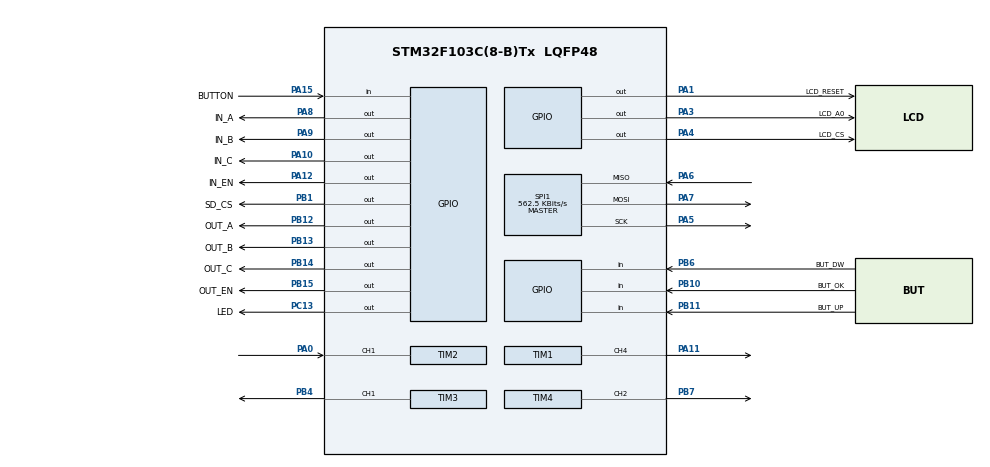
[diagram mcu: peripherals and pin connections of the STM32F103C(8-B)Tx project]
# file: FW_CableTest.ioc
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Mcu.Family=STM32F1
Mcu.Name=STM32F103C(8-B)Tx
Mcu.Package=LQFP48
NVIC.PriorityGroup=NVIC_PRIORITYGROUP_4
NVIC.TIM1_TRG_COM_IRQn=true\:0\:0\:false\:false\:true\:true\:true
NVIC.TIM2_IRQn=true\:0\:0\:false\:false\:true\:true\:true
NVIC.TIM4_IRQn=true\:0\:0\:false\:false\:true\:true\:true
PA0-WKUP.Signal=S_TIM2_CH1_ETR
PA1.GPIO_Label=LCD_RESET
PA1.GPIO_PuPd=GPIO_PULLUP
PA1.Signal=GPIO_Output
PA10.GPIO_Label=IN_C
PA10.Signal=GPIO_Output
PA11.Signal=S_TIM1_CH4
PA12.GPIO_Label=IN_EN
PA12.Signal=GPIO_Output
PA13.Mode=Serial_Wire
PA13.Signal=SYS_JTMS-SWDIO
PA14.Mode=Serial_Wire
PA14.Signal=SYS_JTCK-SWCLK
PA15.GPIO_Label=BUTTON
PA15.GPIO_PuPd=GPIO_PULLUP
PA15.Signal=GPIO_Input
PA3.GPIO_Label=LCD_A0
PA3.Signal=GPIO_Output
PA4.GPIO_Label=LCD_CS
PA4.GPIO_PuPd=GPIO_PULLUP
PA4.Signal=GPIO_Output
PA5.Mode=Full_Duplex_Master
PA5.Signal=SPI1_SCK
PA6.Mode=Full_Duplex_Master
PA6.Signal=SPI1_MISO
PA7.Mode=Full_Duplex_Master
PA7.Signal=SPI1_MOSI
PA8.GPIO_Label=IN_A
PA8.Signal=GPIO_Output
PA9.GPIO_Label=IN_B
PA9.Signal=GPIO_Output
PB1.GPIO_Label=SD_CS
PB1.GPIO_PuPd=GPIO_PULLUP
PB1.Signal=GPIO_Output
PB10.GPIO_Label=BUT_OK
PB10.GPIO_PuPd=GPIO_PULLUP
PB10.Signal=GPIO_Input
PB11.GPIO_Label=BUT_UP
PB11.GPIO_PuPd=GPIO_PULLUP
PB11.Signal=GPIO_Input
PB12.GPIO_Label=OUT_A
PB12.Signal=GPIO_Output
PB13.GPIO_Label=OUT_B
PB13.Signal=GPIO_Output
PB14.GPIO_Label=OUT_C
PB14.Signal=GPIO_Output
PB15.GPIO_Label=OUT_EN
PB15.Signal=GPIO_Output
PB3.Signal=SYS_JTDO-TRACESWO
PB4.Signal=S_TIM3_CH1
PB6.GPIO_Label=BUT_DW
PB6.GPIO_PuPd=GPIO_PULLUP
PB6.Signal=GPIO_Input
PB7.Signal=S_TIM4_CH2
PC13-TAMPER-RTC.GPIO_Label=LED
PC13-TAMPER-RTC.Signal=GPIO_Output
PD0-OSC_IN.Mode=HSE-External-Oscillator
PD0-OSC_IN.Signal=RCC_OSC_IN
PD1-OSC_OUT.Mode=HSE-External-Oscillator
PD1-OSC_OUT.Signal=RCC_OSC_OUT
ProjectManager.HeapSize=0x1000
ProjectManager.StackSize=0x400
ProjectManager.TargetToolchain=STM32CubeIDE
RCC.AHBFreq_Value=72000000
RCC.APB1CLKDivider=RCC_HCLK_DIV2
RCC.APB1Freq_Value=36000000
RCC.APB1TimFreq_Value=72000000
RCC.APB2Freq_Value=72000000
RCC.APB2TimFreq_Value=72000000
RCC.HCLKFreq_Value=72000000
RCC.PLLMUL=RCC_PLL_MUL9
RCC.PLLSourceVirtual=RCC_PLLSOURCE_HSE
RCC.SYSCLKFreq_VALUE=72000000
RCC.SYSCLKSource=RCC_SYSCLKSOURCE_PLLCLK
RCC.USBFreq_Value=72000000
SH.S_TIM1_CH4.0=TIM1_CH4,Output Compare4 CH4
SH.S_TIM2_CH1_ETR.0=TIM2_CH1,Input_Capture1_from_TI1
SH.S_TIM3_CH1.0=TIM3_CH1,Output Compare1 CH1
SH.S_TIM4_CH2.0=TIM4_CH2,PWM Generation2 CH2
SPI1.BaudRatePrescaler=SPI_BAUDRATEPRESCALER_128
SPI1.CalculateBaudRate=562.5 KBits/s
SPI1.Direction=SPI_DIRECTION_2LINES
SPI1.Mode=SPI_MODE_MASTER
SPI1.VirtualType=VM_MASTER
TIM1.AutoReloadPreload=TIM_AUTORELOAD_PRELOAD_DISABLE
TIM1.AutomaticOutput=TIM_AUTOMATICOUTPUT_ENABLE
TIM1.Channel-Output\ Compare4\ CH4=TIM_CHANNEL_4
TIM1.OCMode_4=TIM_OCMODE_TOGGLE
TIM1.Period=4
TIM1.Prescaler=71
TIM1.RepetitionCounter=19
TIM1.TIM_MasterSlaveMode=TIM_MASTERSLAVEMODE_DISABLE
TIM2.Channel-Input_Capture1_from_TI1=TIM_CHANNEL_1
TIM2.ICFilter_CH1=0
TIM2.ICPolarity_CH1=TIM_INPUTCHANNELPOLARITY_FALLING
TIM2.Period=60000
TIM2.Prescaler=71
TIM3.AutoReloadPreload=TIM_AUTORELOAD_PRELOAD_ENABLE
TIM3.Channel-Output\ Compare1\ CH1=TIM_CHANNEL_1
TIM3.OCMode_1=TIM_OCMODE_TOGGLE
TIM3.Period=499
TIM3.Prescaler=71
TIM4.AutoReloadPreload=TIM_AUTORELOAD_PRELOAD_ENABLE
TIM4.Channel-PWM\ Generation2\ CH2=TIM_CHANNEL_2
TIM4.OC2Preload_PWM=DISABLE
TIM4.OCPolarity_2=TIM_OCPOLARITY_HIGH
TIM4.Period=199
TIM4.Prescaler=71
TIM4.Pulse-PWM\ Generation2\ CH2=1
TIM4.TIM_MasterOutputTrigger=TIM_TRGO_ENABLE
TIM4.TIM_MasterSlaveMode=TIM_MASTERSLAVEMODE_ENABLE
VP_CRC_VS_CRC.Mode=CRC_Activate
VP_FATFS_VS_Generic.Mode=User_defined
VP_TIM1_VS_ClockSourceITR.Mode=TriggerSource_ITR3
VP_TIM1_VS_ControllerModeTrigger.Mode=Trigger Mode
VP_TIM1_VS_OPM.Mode=OPM_bit
VP_TIM4_VS_OPM.Mode=OPM_bit
board=custom

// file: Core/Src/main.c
/* USER CODE BEGIN Header */
/**
  ******************************************************************************
  * @file           : main.c
  * @brief          : Main program body
  ******************************************************************************
  * @attention
  *
  * <h2><center>&copy; Copyright (c) 2021 STMicroelectronics.
  * All rights reserved.</center></h2>
  *
  * This software component is licensed by ST under BSD 3-Clause license,
  * the "License"; You may not use this file except in compliance with the
  * License. You may obtain a copy of the License at:
  *                        opensource.org/licenses/BSD-3-Clause
  *
  ******************************************************************************
  */
/* USER CODE END Header */
#include "main.h"
#include "crc.h"
#include "fatfs.h"
#include "spi.h"
#include "tim.h"
#include "gpio.h"

/* USER CODE BEGIN Includes */
#include "font5x7.h"
#include "font7x11.h"
#include "color565.h"

#include <stdio.h>
/* USER CODE END Includes */

/* USER CODE BEGIN PTD */
typeEnv Env={0};
uint32_t FLAG=0;
uint32_t count_tic = 0; // счётчик тиков для подсчёта времени выполнения кода
/* USER CODE END PTD */

/* USER CODE BEGIN PV */
uint32_t Pulse=0, Period=0, N_periods=0;
/* USER CODE END PV */

void SystemClock_Config(void);

/* USER CODE BEGIN 0 */

/************************************************	LVGL	**********************************/
//	  lv_disp_draw_buf_t  lvgl_disp_buf;
//	  lv_color_t  buf_1[MY_DISP_HOR_RES * 10];
/************************************************************************************************
/* USER CODE END 0 */

int main(void)
{
  /* USER CODE BEGIN 1 */
	FATFS	FatFs;
	FRESULT resFS;
	char status[20] = {0};
	uint8_t waitCHR[4]= {0x7C, 0x2F, 0x2D, 0x5C}, w_indx=0;//   / - \ | - в режиме ожидания крутим спинер из этих символов
	Env.Menu.ActiveItem=0;
	Env.Menu.ActivePage=0;
	Env.period=0;
	Env.pulse=0;
	Env.Mode = MODE_MENU;
	uint8_t mode = Env.Mode;
	f_RefreshScreen = 1;

	LineStructInit(&Env);

  /* USER CODE END 1 */

  /* MCU Configuration--------------------------------------------------------*/

  /* Reset of all peripherals, Initializes the Flash interface and the Systick. */
  HAL_Init();

  /* USER CODE BEGIN Init */
  /*++++++++++++++++++++++++++++++++++++++++++++++++++++++++++++++++++++*/
  		  SCB_DEMCR |= CoreDebug_DEMCR_TRCENA_Msk;// разрешаем использовать DWT
  		  DWT_CYCCNT = 0;// обнуляем значение
  		  DWT_CONTROL|= DWT_CTRL_CYCCNTENA_Msk; // включаем счётчик
  		/*+++++++++++++++++++++++++++++++++++++++++++++++++++++++++++++++++*/
  /* USER CODE END Init */

  /* Configure the system clock */
  SystemClock_Config();

  /* USER CODE BEGIN SysInit */
//  LL_SPI_Enable(SPI1);// включить SPI после инициализации ДО иниц. FATFS
  /* USER CODE END SysInit */

  /* Initialize all configured peripherals */
  MX_GPIO_Init();
  MX_CRC_Init();
  MX_SPI1_Init();
  MX_FATFS_Init();
  MX_TIM3_Init();
  MX_TIM1_Init();
  MX_TIM2_Init();
  MX_TIM4_Init();
  /* USER CODE BEGIN 2 */
	LL_TIM_CC_EnableChannel(TIM1, LL_TIM_CHANNEL_CH4);
	LL_TIM_CC_EnableChannel(TIM2, LL_TIM_CHANNEL_CH1);
	LL_TIM_CC_EnableChannel(TIM3, LL_TIM_CHANNEL_CH1);
	LL_TIM_CC_EnableChannel(TIM4, LL_TIM_CHANNEL_CH2);
	LL_TIM_EnableCounter(TIM1);

	LL_SPI_Enable(SPI1);// включить SPI после инициализации ДО иниц. FATFS
	resFS = f_mount(&FatFs, "", 1); //Монтируем файловую систему до первого использования SPI дисплеем

	HAL_ST7735_Init();

	if(resFS != FR_OK)
	{
		ST7735_Clear(DANGER_BGR_COLOR);
		sprintf(status, "SD card" );
		ST7735_DrawString7x11(39,1, status,DANGER_TXT_COLOR,DANGER_BGR_COLOR);
		sprintf(status, "not find" );
		ST7735_DrawString7x11(27,LINE_HEIGTH*1, status,DANGER_TXT_COLOR, DANGER_BGR_COLOR);
		sprintf(status, "Insert SD card" );
		ST7735_DrawString7x11(8,LINE_HEIGTH*2, status, DANGER_TXT_COLOR, DANGER_BGR_COLOR);
		sprintf(status, "and reboot" );
		ST7735_DrawString7x11(29,LINE_HEIGTH*3, status,DANGER_TXT_COLOR, DANGER_BGR_COLOR);
		sprintf(status, "device" );
		ST7735_DrawString7x11(42,LINE_HEIGTH*4, status,DANGER_TXT_COLOR, DANGER_BGR_COLOR);
		while( 1);
	}

  /* USER CODE END 2 */

  /* Infinite loop */
  /* USER CODE BEGIN WHILE */
		ST7735_Clear(BGR_COLOR);
		FS_GetFileList( &Env);
		Env.Menu.NmbrAllPages = (uint32_t)(Env.Menu.NmbrAllFiles/ITEM_ON_PAGE_MAX);
		Env.FileNameForTest = Env.Menu.FileList[0];
  while (1)
  {
	f_connect = CheckConnect(Env);
	count_tic = DWT_CYCCNT;//смотрим сколько натикало
	ReadKeyPad();
	mode = Env.Mode;
	switch(mode)	// назначить действие в зависимости от текущего режима
	{
		case MODE_MENU: 	Menu(&Env); 	break;
		case MODE_WAIT: 	Wait(&Env);  	break;
		case MODE_TEST: 	Test(&Env);		break;
		default: break;
	}
	Display(&Env);
    HAL_Delay(100);

    /* USER CODE END WHILE */

  }
}

void SystemClock_Config(void)
{
  LL_FLASH_SetLatency(LL_FLASH_LATENCY_2);
  while(LL_FLASH_GetLatency()!= LL_FLASH_LATENCY_2)
  {
  }
  LL_RCC_HSE_Enable();

   /* Wait till HSE is ready */
  while(LL_RCC_HSE_IsReady() != 1)
  {

  }
  LL_RCC_PLL_ConfigDomain_SYS(LL_RCC_PLLSOURCE_HSE_DIV_1, LL_RCC_PLL_MUL_9);
  LL_RCC_PLL_Enable();

   /* Wait till PLL is ready */
  while(LL_RCC_PLL_IsReady() != 1)
  {

  }
  LL_RCC_SetAHBPrescaler(LL_RCC_SYSCLK_DIV_1);
  LL_RCC_SetAPB1Prescaler(LL_RCC_APB1_DIV_2);
  LL_RCC_SetAPB2Prescaler(LL_RCC_APB2_DIV_1);
  LL_RCC_SetSysClkSource(LL_RCC_SYS_CLKSOURCE_PLL);

   /* Wait till System clock is ready */
  while(LL_RCC_GetSysClkSource() != LL_RCC_SYS_CLKSOURCE_STATUS_PLL)
  {

  }
  LL_SetSystemCoreClock(72000000);

   /* Update the time base */
  if (HAL_InitTick (TICK_INT_PRIORITY) != HAL_OK)
  {
    Error_Handler();
  }
}

void Error_Handler(void)
{
  __disable_irq();
  while (1)
  {
  }
}

/************************ (C) COPYRIGHT STMicroelectronics *****END OF FILE****/
